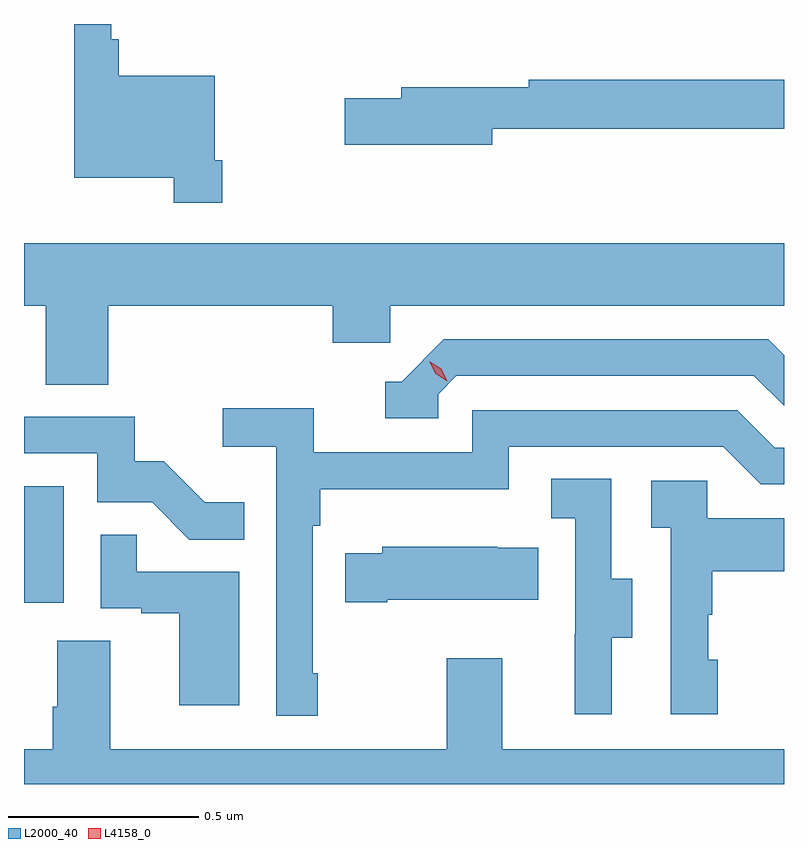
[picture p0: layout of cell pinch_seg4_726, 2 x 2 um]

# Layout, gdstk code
import gdstk
lib = gdstk.Library(unit=1e-6, precision=1e-09)
def R(c, l, rs):  # rectangles x0, y0, x1, y1
    for r in rs: c.add(gdstk.rectangle(r[:2], r[2:], *l))
def P(c, l, *ps):  # polygons
    for p in ps: c.add(gdstk.Polygon(p, *l))
L2000_40 = (2000, 40)
L4158_0 = (4158, 0)

pinch_seg4_726 = lib.new_cell('pinch_seg4_726')
R(pinch_seg4_726, L2000_40, [(855.356,828.006,855.46,828.313)])
P(pinch_seg4_726, L2000_40, [(855.878,829.171),(855.858,829.171),(855.858,829.393),(855.605,829.393),(855.605,829.489),(855.586,829.489),(855.586,829.529),(855.488,829.529),(855.488,829.124),(855.75,829.124),(855.75,829.059),(855.878,829.059)],
  [(856.588,829.254),(857.356,829.254),(857.356,829.382),(856.684,829.382),(856.684,829.363),(856.349,829.363),(856.349,829.333),(856.2,829.333),(856.2,829.211),(856.588,829.211)],
  [(855.578,828.788),(856.169,828.788),(856.169,828.69),(856.32,828.69),(856.32,828.788),(857.356,828.788),(857.356,828.952),(855.356,828.952),(855.356,828.788),(855.413,828.788),(855.413,828.58),(855.578,828.58)],
  [(856.446,828.555),(856.494,828.603),(857.277,828.603),(857.356,828.524),(857.356,828.657),(857.314,828.699),(856.461,828.699),(856.35,828.588),(856.307,828.588),(856.307,828.492),(856.446,828.492)],
  [(856.129,827.821),(856.116,827.821),(856.116,828.209),(856.136,828.209),(856.136,828.305),(856.632,828.305),(856.632,828.417),(857.196,828.417),(857.295,828.318),(857.356,828.318),(857.356,828.414),(857.332,828.414),(857.233,828.513),(856.536,828.513),(856.536,828.402),(856.118,828.402),(856.118,828.518),(855.879,828.518),(855.879,828.416),(856.02,828.416),(856.02,827.709),(856.129,827.709)],
  [(855.935,828.271),(855.831,828.271),(855.724,828.378),(855.648,828.378),(855.648,828.495),(855.356,828.495),(855.356,828.399),(855.549,828.399),(855.549,828.27),(855.693,828.27),(855.791,828.172),(855.935,828.172)],
  [(856.903,827.914),(856.957,827.914),(856.957,828.069),(856.902,828.069),(856.902,828.332),(856.743,828.332),(856.743,828.229),(856.806,828.229),(856.806,827.925),(856.805,827.925),(856.805,827.712),(856.903,827.712)],
  [(857.182,827.856),(857.157,827.856),(857.157,827.975),(857.167,827.975),(857.167,828.089),(857.356,828.089),(857.356,828.229),(857.154,828.229),(857.154,828.327),(857.007,828.327),(857.007,828.203),(857.058,828.203),(857.058,827.712),(857.182,827.712)],
  [(855.922,828.087),(855.653,828.087),(855.653,828.185),(855.558,828.185),(855.558,827.991),(855.665,827.991),(855.665,827.979),(855.764,827.979),(855.764,827.736),(855.922,827.736)],
  [(856.312,828.014),(856.709,828.014),(856.709,828.151),(856.601,828.151),(856.601,828.154),(856.299,828.154),(856.299,828.136),(856.201,828.136),(856.201,828.007),(856.312,828.007)],
  [(857.356,827.62),(856.615,827.62),(856.615,827.86),(856.468,827.86),(856.468,827.62),(855.583,827.62),(855.583,827.906),(855.443,827.906),(855.443,827.732),(855.431,827.732),(855.431,827.62),(855.356,827.62),(855.356,827.529),(857.356,827.529)])
P(pinch_seg4_726, L4158_0, [(856.47,828.589),(856.439,828.608),(856.422,828.641),(856.422,828.641),(856.423,828.641),(856.454,828.622),(856.47,828.589),(856.47,828.589)])

lib.write_gds('pinch_seg4_726.gds')
